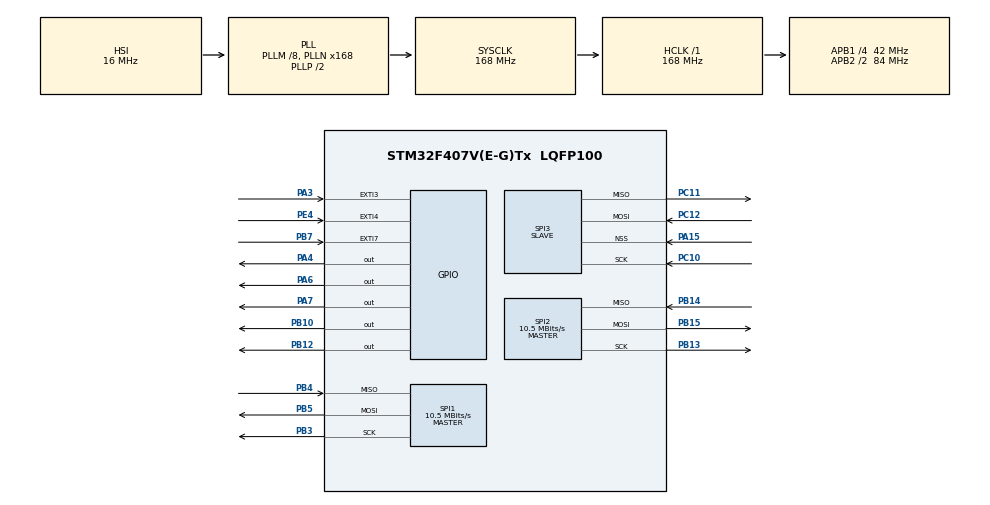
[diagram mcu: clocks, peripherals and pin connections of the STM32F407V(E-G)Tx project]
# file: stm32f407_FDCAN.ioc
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Mcu.Family=STM32F4
Mcu.Name=STM32F407V(E-G)Tx
Mcu.Package=LQFP100
NVIC.EXTI3_IRQn=true\:0\:0\:false\:false\:true\:true\:true\:true
NVIC.EXTI4_IRQn=true\:0\:0\:false\:false\:true\:true\:true\:true
NVIC.EXTI9_5_IRQn=true\:0\:0\:false\:false\:true\:true\:true\:true
NVIC.PriorityGroup=NVIC_PRIORITYGROUP_4
NVIC.SPI1_IRQn=true\:0\:0\:false\:false\:true\:true\:true\:true
NVIC.SPI2_IRQn=true\:0\:0\:false\:false\:true\:true\:true\:true
NVIC.SPI3_IRQn=true\:0\:0\:false\:false\:true\:true\:true\:true
NVIC.TIM8_TRG_COM_TIM14_IRQn=true\:0\:0\:false\:false\:true\:true\:true\:true
PA13.Mode=Serial_Wire
PA13.Signal=SYS_JTMS-SWDIO
PA14.Mode=Serial_Wire
PA14.Signal=SYS_JTCK-SWCLK
PA15.Mode=NSS_Signal_Hard_Input
PA15.Signal=SPI3_NSS
PA3.GPIO_ModeDefaultEXTI=GPIO_MODE_IT_FALLING
PA3.Signal=GPXTI3
PA4.GPIO_PuPd=GPIO_PULLUP
PA4.GPIO_Speed=GPIO_SPEED_FREQ_HIGH
PA4.PinState=GPIO_PIN_SET
PA4.Signal=GPIO_Output
PA6.GPIO_ModeDefaultOutputPP=GPIO_MODE_OUTPUT_PP
PA6.GPIO_PuPd=GPIO_PULLUP
PA6.GPIO_Speed=GPIO_SPEED_FREQ_HIGH
PA6.PinState=GPIO_PIN_RESET
PA6.Signal=GPIO_Output
PA7.GPIO_ModeDefaultOutputPP=GPIO_MODE_OUTPUT_PP
PA7.GPIO_PuPd=GPIO_PULLUP
PA7.GPIO_Speed=GPIO_SPEED_FREQ_HIGH
PA7.PinState=GPIO_PIN_RESET
PA7.Signal=GPIO_Output
PB10.GPIO_Speed=GPIO_SPEED_FREQ_HIGH
PB10.Signal=GPIO_Output
PB12.GPIO_PuPd=GPIO_PULLUP
PB12.GPIO_Speed=GPIO_SPEED_FREQ_HIGH
PB12.PinState=GPIO_PIN_SET
PB12.Signal=GPIO_Output
PB13.Mode=Full_Duplex_Master
PB13.Signal=SPI2_SCK
PB14.Mode=Full_Duplex_Master
PB14.Signal=SPI2_MISO
PB15.Mode=Full_Duplex_Master
PB15.Signal=SPI2_MOSI
PB3.Mode=Full_Duplex_Master
PB3.Signal=SPI1_SCK
PB4.Mode=Full_Duplex_Master
PB4.Signal=SPI1_MISO
PB5.Mode=Full_Duplex_Master
PB5.Signal=SPI1_MOSI
PB7.GPIO_ModeDefaultEXTI=GPIO_MODE_IT_FALLING
PB7.GPIO_PuPd=GPIO_NOPULL
PB7.Signal=GPXTI7
PC10.Mode=Full_Duplex_Slave
PC10.Signal=SPI3_SCK
PC11.Mode=Full_Duplex_Slave
PC11.Signal=SPI3_MISO
PC12.Mode=Full_Duplex_Slave
PC12.Signal=SPI3_MOSI
PE4.GPIO_ModeDefaultEXTI=GPIO_MODE_IT_FALLING
PE4.GPIO_PuPd=GPIO_PULLUP
PE4.Signal=GPXTI4
PH0-OSC_IN.Mode=HSE-External-Oscillator
PH0-OSC_IN.Signal=RCC_OSC_IN
PH1-OSC_OUT.Mode=HSE-External-Oscillator
PH1-OSC_OUT.Signal=RCC_OSC_OUT
ProjectManager.HeapSize=0x200
ProjectManager.StackSize=0x400
ProjectManager.TargetToolchain=STM32CubeIDE
RCC.48MHZClocksFreq_Value=84000000
RCC.AHBFreq_Value=168000000
RCC.APB1CLKDivider=RCC_HCLK_DIV4
RCC.APB1Freq_Value=42000000
RCC.APB1TimFreq_Value=84000000
RCC.APB2CLKDivider=RCC_HCLK_DIV2
RCC.APB2Freq_Value=84000000
RCC.APB2TimFreq_Value=168000000
RCC.CortexFreq_Value=168000000
RCC.HCLKFreq_Value=168000000
RCC.HSE_VALUE=25000000
RCC.HSI_VALUE=16000000
RCC.LSE_VALUE=32768
RCC.PLLM=8
RCC.PLLN=168
RCC.SYSCLKFreq_VALUE=168000000
RCC.SYSCLKSource=RCC_SYSCLKSOURCE_PLLCLK
RCC.VCOOutputFreq_Value=336000000
SPI1.BaudRatePrescaler=SPI_BAUDRATEPRESCALER_8
SPI1.CLKPhase=SPI_PHASE_2EDGE
SPI1.CLKPolarity=SPI_POLARITY_HIGH
SPI1.CalculateBaudRate=10.5 MBits/s
SPI1.Direction=SPI_DIRECTION_2LINES
SPI1.Mode=SPI_MODE_MASTER
SPI1.VirtualType=VM_MASTER
SPI2.BaudRatePrescaler=SPI_BAUDRATEPRESCALER_4
SPI2.CLKPhase=SPI_PHASE_2EDGE
SPI2.CLKPolarity=SPI_POLARITY_HIGH
SPI2.CalculateBaudRate=10.5 MBits/s
SPI2.Direction=SPI_DIRECTION_2LINES
SPI2.Mode=SPI_MODE_MASTER
SPI2.VirtualType=VM_MASTER
SPI3.CLKPhase=SPI_PHASE_2EDGE
SPI3.CLKPolarity=SPI_POLARITY_HIGH
SPI3.Direction=SPI_DIRECTION_2LINES
SPI3.Mode=SPI_MODE_SLAVE
SPI3.VirtualNSS=VM_NSSHARD
SPI3.VirtualType=VM_SLAVE
TIM14.Period=84-1
TIM14.Prescaler=1-1
VP_TIM14_VS_ClockSourceINT.Mode=Enable_Timer
VP_TIM7_VS_ClockSourceINT.Mode=Enable_Timer
board=custom

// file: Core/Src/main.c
/* USER CODE BEGIN Header */
/**
  ******************************************************************************
  * @file           : main.c
  * @brief          : Main program body
  ******************************************************************************
  * @attention
  *
  * Copyright (c) 2024 STMicroelectronics.
  * All rights reserved.
  *
  * This software is licensed under terms that can be found in the LICENSE file
  * in the root directory of this software component.
  * If no LICENSE file comes with this software, it is provided AS-IS.
  *
  ******************************************************************************
  */
/* USER CODE END Header */
#include "main.h"
#include "spi.h"
#include "tim.h"
#include "gpio.h"

/* USER CODE BEGIN Includes */
#include "drv_spi.h"
/* USER CODE END Includes */

/* USER CODE BEGIN PV */
//uint32_t counter_timer = 0;
uint8_t RX_Buffer[BUFFER_SIZE] = {0};
uint8_t *ptr_rx;
uint8_t RX_data = 0;
uint8_t TX_Buffer[BUFFER_SIZE] = {1,2,3,4,5,6,7,8,9,10};
uint32_t RX_index = 0;
uint8_t flag_send_frame = 0;
uint8_t flag_receive_frame = 0;
//uint8_t a=969696;

/* USER CODE END PV */

void SystemClock_Config(void);
/* USER CODE BEGIN PFP */
void blink_led(uint8_t times);

/* USER CODE END PFP */

int main(void)
{

  /* MCU Configuration--------------------------------------------------------*/

  /* Reset of all peripherals, Initializes the Flash interface and the Systick. */
  HAL_Init();

  /* Configure the system clock */
  SystemClock_Config();

  /* Initialize all configured peripherals */
  MX_GPIO_Init();
  MX_TIM14_Init();
  MX_SPI1_Init();
  MX_TIM7_Init();
  MX_SPI2_Init();
  MX_SPI3_Init();
  /* USER CODE BEGIN 2 */
  HAL_TIM_Base_Start_IT(&htim14);
//  HAL_SPI_Receive_IT(&hspi1, RX_Buffer, BUFFER_SIZE);
//  HAL_SPI_Receive_IT(&hspi3, RX_Buffer, BUFFER_SIZE);
//  HAL_SPI_Receive_IT(&hspi3, RX_Buffer, BUFFER_SIZE);

//  HAL_SPI_Receive_IT(&hspi3, ptr_rx, 1);
//  HAL_SPI_Receive_IT(&hspi3, &RX_data, sizeof(RX_data));
//  HAL_SPI_Transmit(&hspi2, (uint8_t*)TX_Buffer, BUFFER_SIZE, 1000);
  HAL_SPI_Receive_IT(&hspi3, (uint8_t*)RX_Buffer, sizeof(RX_Buffer));

  CANFDSPI_Init();
//  DRV_SPI_Initialize();
//  DRV_SPI_Initialize();
  /* USER CODE END 2 */

  /* Infinite loop */
  while (1)
  {

    /* USER CODE BEGIN 3 */
	  if (flag_send_frame == 1) {
		  HAL_GPIO_WritePin(GPIOA, GPIO_PIN_7, GPIO_HIGH);
		  mcp2518fd_transmit();
		  //debounce
		  HAL_Delay(100);
		  HAL_GPIO_WritePin(GPIOA, GPIO_PIN_7, GPIO_LOW);
		  flag_send_frame = 0;
	  }
	  if (flag_receive_frame == 1) {
		  mcp2518fd_receive();
		  blink_led(2);
		  flag_receive_frame = 0;
	  }
	  //	  if (flag_send_frame == 1) {
	  ////		  HAL_GPIO_TogglePin(GPIOD, GPIO_PIN_12);
	  ////		  mcp2518fd_transpond();
	  //		  RX_index=0;
	  //		  HAL_GPIO_WritePin(GPIOA, GPIO_PIN_7, GPIO_HIGH);
	  ////		  mcp2518fd_transmit();
	  ////		  mcp2518fd_transpond();
	  ////		  mcp2518fd_receive();
	  ////		  HAL_GPIO_WritePin(GPIOB, GPIO_PIN_12, GPIO_PIN_RESET);
	  //		  mcp2518fd_transmit();
	  ////		  HAL_Delay(100);
	  ////		  CANFDSPI_Test();
	  ////		  mcp2518fd_receive();
	  ////		  RX_index=0;
	  ////		  for (uint16_t i = 0; i < BUFFER_SIZE; i++)
	  ////		      {
	  ////			  	  TX_Buffer[i] = rand() & 0xf;
	  ////		      }
	  ////		  HAL_SPI_Transmit(&hspi2, (uint8_t*)TX_Buffer, sizeof(TX_Buffer), 1000);
	  ////		  HAL_Delay(200);
	  ////		  HAL_SPI_Receive_IT(&hspi3, RX_Buffer, sizeof(RX_Buffer));
	  ////		  HAL_GPIO_WritePin(GPIOB, GPIO_PIN_12, GPIO_PIN_SET);
	  ////		  HAL_SPI_Receive_IT(&hspi3, ptr_rx, 1);
	  ////		  HAL_SPI_Receive_IT(&hspi3, &RX_data, sizeof(RX_data));
	  ////		  HAL_SPI_Receive_IT(&hspi3, (uint8_t*)RX_Buffer, BUFFER_SIZE);
	  //		  HAL_Delay(100);
	  //
	  //		  HAL_GPIO_WritePin(GPIOA, GPIO_PIN_7, GPIO_LOW);
	  //		  flag_send_frame = 0;
	  //	  }
  }
  /* USER CODE END 3 */
}

void SystemClock_Config(void)
{
  RCC_OscInitTypeDef RCC_OscInitStruct = {0};
  RCC_ClkInitTypeDef RCC_ClkInitStruct = {0};

  /** Configure the main internal regulator output voltage
  */
  __HAL_RCC_PWR_CLK_ENABLE();
  __HAL_PWR_VOLTAGESCALING_CONFIG(PWR_REGULATOR_VOLTAGE_SCALE1);

  /** Initializes the RCC Oscillators according to the specified parameters
  * in the RCC_OscInitTypeDef structure.
  */
  RCC_OscInitStruct.OscillatorType = RCC_OSCILLATORTYPE_HSI;
  RCC_OscInitStruct.HSIState = RCC_HSI_ON;
  RCC_OscInitStruct.HSICalibrationValue = RCC_HSICALIBRATION_DEFAULT;
  RCC_OscInitStruct.PLL.PLLState = RCC_PLL_ON;
  RCC_OscInitStruct.PLL.PLLSource = RCC_PLLSOURCE_HSI;
  RCC_OscInitStruct.PLL.PLLM = 8;
  RCC_OscInitStruct.PLL.PLLN = 168;
  RCC_OscInitStruct.PLL.PLLP = RCC_PLLP_DIV2;
  RCC_OscInitStruct.PLL.PLLQ = 4;
  if (HAL_RCC_OscConfig(&RCC_OscInitStruct) != HAL_OK)
  {
    Error_Handler();
  }

  /** Initializes the CPU, AHB and APB buses clocks
  */
  RCC_ClkInitStruct.ClockType = RCC_CLOCKTYPE_HCLK|RCC_CLOCKTYPE_SYSCLK
                              |RCC_CLOCKTYPE_PCLK1|RCC_CLOCKTYPE_PCLK2;
  RCC_ClkInitStruct.SYSCLKSource = RCC_SYSCLKSOURCE_PLLCLK;
  RCC_ClkInitStruct.AHBCLKDivider = RCC_SYSCLK_DIV1;
  RCC_ClkInitStruct.APB1CLKDivider = RCC_HCLK_DIV4;
  RCC_ClkInitStruct.APB2CLKDivider = RCC_HCLK_DIV2;

  if (HAL_RCC_ClockConfig(&RCC_ClkInitStruct, FLASH_LATENCY_5) != HAL_OK)
  {
    Error_Handler();
  }
}

/* USER CODE BEGIN 4 */

void blink_led(uint8_t times) {
	for (int i = 0; i <= times; i++) {
		HAL_GPIO_WritePin(GPIOA, GPIO_PIN_7, GPIO_HIGH);
		HAL_Delay(50);
		HAL_GPIO_WritePin(GPIOA, GPIO_PIN_7, GPIO_LOW);
		HAL_Delay(50);
	}

}

void HAL_TIM_PeriodElapsedCallback(TIM_HandleTypeDef *htim)
{

}
/* USER CODE END 4 */

void Error_Handler(void)
{
  __disable_irq();
  while (1)
  {
  }
}
